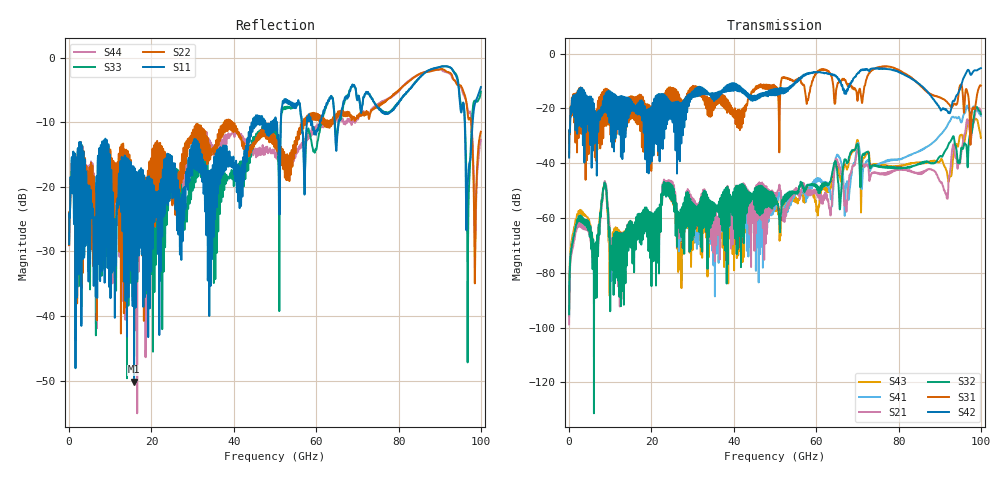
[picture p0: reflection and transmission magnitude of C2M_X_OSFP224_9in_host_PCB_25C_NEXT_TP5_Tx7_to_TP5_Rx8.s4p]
# GHz S RI R 45
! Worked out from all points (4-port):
!   4000 points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, 25 MHz to 100 GHz, reference 45 ohm
!   strongest paths, dB at 25 MHz, 25.02 GHz, 50.02 GHz, 75.03 GHz, 100 GHz:
!     S42: -38.0, -18.5, -13.0, -5.3, -5.3
!     S31: -37.7, -14.6, -12.1, -5.0, -11.6
!     S32: -95.1, -49.6, -54.9, -41.3, -22.1
!     S21: -98.8, -47.7, -53.1, -43.5, -21.1
!     S41: -95.8, -49.9, -56.3, -40.5, -22.7
!     S43: -93.5, -52.6, -57.5, -40.3, -30.8
!   lowest |S11| = -50.2 dB at 15.8 GHz (marker M1), VSWR 1.01, Z = 44.9 - j0.236 ohm
!   |S11| at or under -10 dB: start of sweep to 44.63 GHz; 59.03 GHz to 60.91 GHz (1.884 GHz wide, 3.14 % of centre); 96.08 GHz to 98 GHz (1.927 GHz wide, 1.99 % of centre) (the widest 3 of 20)
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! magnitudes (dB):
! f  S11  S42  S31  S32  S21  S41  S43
! 25 MHz  -28.9  -38.0  -37.7  -95.1  -98.8  -95.8  -93.5
! 6.35 GHz  -25.1  -21.6  -29.1  -80.7  -80.8  -77.0  -72.2
! 8.675 GHz  -24.1  -17.2  -25.7  -47.2  -46.5  -46.7  -47.0
! 10.38 GHz  -22.7  -14.2  -19.8  -72.6  -71.0  -81.8  -68.8
! 15.8 GHz  -50.2  -19.9  -21.1  -79.8  -66.2  -68.3  -68.9
! 91.55 GHz  -1.4  -20.4  -17.4  -35.0  -51.0  -27.1  -42.5
! 100 GHz  -4.6  -5.3  -11.6  -22.1  -21.1  -22.7  -30.8
